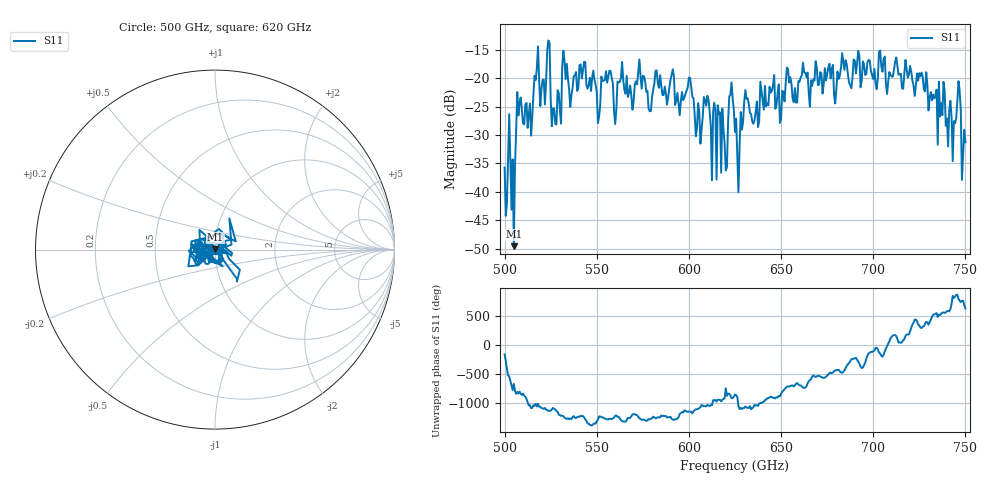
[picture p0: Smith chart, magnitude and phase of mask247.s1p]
!Created with skrf (http://scikit-rf.org).
# GHz S MA R 50.0
!freq magS11 angS11
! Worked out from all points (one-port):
!   401 points, 500 GHz to 750 GHz, reference 50 ohm
!   lowest |S11| = -49.6 dB at 505 GHz (marker M1), VSWR 1.01, Z = 50.2 + j0.251 ohm
!   |S11| at or under -10 dB: start of sweep to end of sweep
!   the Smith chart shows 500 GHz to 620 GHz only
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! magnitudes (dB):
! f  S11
! 500 GHz  -35.7
! 505 GHz  -49.6
! 508.1 GHz  -24.2
! 513.8 GHz  -24.5
! 516.9 GHz  -20.3
! 520.6 GHz  -20.3
! 523.8 GHz  -13.3
! 526.9 GHz  -25.3
! 531.2 GHz  -17.9
! 542.5 GHz  -18.6
! 550.6 GHz  -27.9
! 562.5 GHz  -20.6
! 590.6 GHz  -19.3
! 593.8 GHz  -22.6
! 600 GHz  -19.9
! 605 GHz  -24.4
! 609.4 GHz  -24.8
! 620 GHz  -36.2
! 622.5 GHz  -22.9
! 625 GHz  -29.5
! 626.2 GHz  -33.5
! 631.2 GHz  -23.6
! 656.2 GHz  -23.5
! 687.5 GHz  -21.2
! 718.8 GHz  -19.8
! 741.9 GHz  -23.9
! 746.2 GHz  -20.5
! 750 GHz  -31.3
